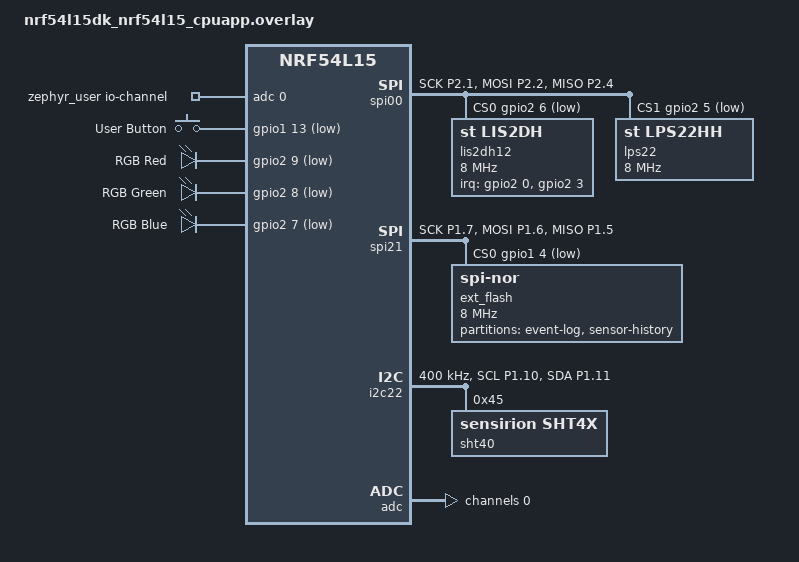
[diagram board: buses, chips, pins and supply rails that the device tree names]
/*
 * Smart Tag V1 hardware pin mapping.
 *
 * This overlay can be used as a reference while bringing the application
 * up on an nRF54L15 DK. For the production PCB, create a custom board
 * target so the pin configuration is part of the board definition.
 *
 * Bus topology (from 25025-beacon-V1.0-sch.pdf):
 *
 *   SPI00 (fast domain, P2.xx only) -> LIS2DH12 + LPS22 pressure sensor
 *   SPI21                           -> BY25Q16BSXIG 16-Mbit SPI NOR
 *   TWIM22                          -> SHT40
 *
 * The NOR flash does NOT share the sensor SPI bus: the schematic gives it
 * its own SCLK/SI/SO on P1.07/P1.06/P1.05.
 */

#include <zephyr/dt-bindings/sensor/lps22hh.h>
#include <zephyr/dt-bindings/adc/nrf-saadc-nrf54l.h>

/ {
    aliases {
        sht40 = &sht40;
        lis2dh12 = &lis2dh12;
        lps22 = &lps22;
        user_button = &user_button;
        led_red = &led_red;
        led_green = &led_green;
        led_blue = &led_blue;
        ext_flash = &ext_flash;
    };

    /* Battery ADC channel, read by sensors/sensor_manager.c. */
    zephyr_user: zephyr,user {
        io-channels = <&adc 0>;
    };

    smart_tag_keys {
        compatible = "gpio-keys";

        user_button: button_0 {
            gpios = <&gpio1 13 (GPIO_PULL_UP | GPIO_ACTIVE_LOW)>;
            label = "User Button";
        };
    };

    smart_tag_leds {
        compatible = "gpio-leds";

        led_red: led_red {
            gpios = <&gpio2 9 GPIO_ACTIVE_LOW>;
            label = "RGB Red";
        };

        led_green: led_green {
            gpios = <&gpio2 8 GPIO_ACTIVE_LOW>;
            label = "RGB Green";
        };

        led_blue: led_blue {
            gpios = <&gpio2 7 GPIO_ACTIVE_LOW>;
            label = "RGB Blue";
        };
    };
};

/*
 * The DK definition puts an MX25R64 on SPI00 chip select 0.  Smart Tag has
 * the accelerometer there instead, so the DK node has to go.
 */
/delete-node/ &mx25r64;

/* Sensor SPI bus: SCK P2.01, MOSI P2.02, MISO P2.04. */
/*
 * 8 MHz, not 10: SPIM00's base clock is 128 MHz and nrfx requires the
 * requested frequency to divide it exactly into an even prescaler, so
 * 10 MHz is rejected by nrfx_spim_init() with -EINVAL. Unlike nRF52/nRF53,
 * nRF54L does not round down to a supported step. See the board pinctrl
 * .dtsi header for the full arithmetic.
 */
&spi00 {
    status = "okay";
    pinctrl-0 = <&spi00_smart_tag_default>;
    pinctrl-1 = <&spi00_smart_tag_sleep>;
    pinctrl-names = "default", "sleep";

    cs-gpios = <&gpio2 6 GPIO_ACTIVE_LOW>,   /* CS_LIS2DH12 */
               <&gpio2 5 GPIO_ACTIVE_LOW>;   /* CS_LPS22     */

    lis2dh12: lis2dh12@0 {
        compatible = "st,lis2dh";
        reg = <0>;
        spi-max-frequency = <8000000>;

        /* INT1 = P2.00, INT2 = P2.03, both active high out of the sensor. */
        irq-gpios = <&gpio2 0 GPIO_ACTIVE_HIGH>,
                    <&gpio2 3 GPIO_ACTIVE_HIGH>;

        /* LIS2DH12 has an SDO/SA0 pull-up that wastes current in SPI mode. */
        disconnect-sdo-sa0-pull-up;

        status = "okay";
    };

    /*
     * Schematic part is an LPS22HB.  Zephyr has no SPI-capable LPS22HB
     * driver, so the register-compatible LPS22HH driver is used.  See
     * README.md - the LPS22HH driver enforces WHO_AM_I == 0xB3.
     */
    lps22: lps22hh@1 {
        compatible = "st,lps22hh";
        reg = <1>;
        spi-max-frequency = <8000000>;
        odr = <LPS22HH_DT_ODR_1HZ>;
        status = "okay";
    };
};

/*
 * External 2 MB SPI NOR on its own bus.
 * BY25Q16BSXIG is a 16-Mbit / 2-MB SPI NOR.
 * SCLK P1.07, MOSI/SI P1.06, MISO/SO P1.05, CS P1.04.
 */
&spi21 {
    status = "okay";
    pinctrl-0 = <&spi21_smart_tag_default>;
    pinctrl-1 = <&spi21_smart_tag_sleep>;
    pinctrl-names = "default", "sleep";

    cs-gpios = <&gpio1 4 GPIO_ACTIVE_LOW>;

    ext_flash: flash@0 {
        compatible = "jedec,spi-nor";
        reg = <0>;
        spi-max-frequency = <8000000>;

        /* Boya BY25Q16BS. Confirm against the JEDEC ID read at bring-up. */
        jedec-id = [68 40 15];
        /* "size" is in BITS: 16 Mbit. */
        size = <16777216>;

        has-dpd;
        t-enter-dpd = <3000>;
        t-exit-dpd = <30000>;

        status = "okay";

        partitions {
            compatible = "fixed-partitions";
            #address-cells = <1>;
            #size-cells = <1>;

            /*
             * PLAN.md section 9. Two independent circular logs, so a
             * burst of shock events cannot evict the climate history a
             * shipping audit needs, and vice versa. Configuration and
             * statistics live in the internal RRAM settings partition
             * instead - see src/storage/config_storage.h.
             */
            event_log_partition: partition@0 {
                label = "event-log";
                reg = <0x00000000 DT_SIZE_K(256)>;
            };

            sensor_log_partition: partition@40000 {
                label = "sensor-history";
                reg = <0x00040000 DT_SIZE_K(1792)>;
            };
        }
    };
};

&i2c22 {
    status = "okay";
    clock-frequency = <I2C_BITRATE_FAST>;
    pinctrl-0 = <&i2c22_smart_tag_default>;
    pinctrl-1 = <&i2c22_smart_tag_sleep>;
    pinctrl-names = "default", "sleep";

    sht40: sht4x@45 {
        compatible = "sensirion,sht4x";
        reg = <0x45>;
        repeatability = <2>;
        status = "okay";
    };
};

&pinctrl {
    i2c22_smart_tag_default: i2c22_smart_tag_default {
        group1 {
            psels = <NRF_PSEL(TWIM_SCL, 1, 10)>,
                    <NRF_PSEL(TWIM_SDA, 1, 11)>;
            bias-pull-up;
        };
    };

    i2c22_smart_tag_sleep: i2c22_smart_tag_sleep {
        group1 {
            psels = <NRF_PSEL(TWIM_SCL, 1, 10)>,
                    <NRF_PSEL(TWIM_SDA, 1, 11)>;
            low-power-enable;
        };
    };

    spi00_smart_tag_default: spi00_smart_tag_default {
        group1 {
            psels = <NRF_PSEL(SPIM_SCK, 2, 1)>,
                    <NRF_PSEL(SPIM_MOSI, 2, 2)>,
                    <NRF_PSEL(SPIM_MISO, 2, 4)>;
        };
    };

    spi00_smart_tag_sleep: spi00_smart_tag_sleep {
        group1 {
            psels = <NRF_PSEL(SPIM_SCK, 2, 1)>,
                    <NRF_PSEL(SPIM_MOSI, 2, 2)>,
                    <NRF_PSEL(SPIM_MISO, 2, 4)>;
            low-power-enable;
        };
    };

    spi21_smart_tag_default: spi21_smart_tag_default {
        group1 {
            psels = <NRF_PSEL(SPIM_SCK, 1, 7)>,
                    <NRF_PSEL(SPIM_MOSI, 1, 6)>,
                    <NRF_PSEL(SPIM_MISO, 1, 5)>;
        };
    };

    spi21_smart_tag_sleep: spi21_smart_tag_sleep {
        group1 {
            psels = <NRF_PSEL(SPIM_SCK, 1, 7)>,
                    <NRF_PSEL(SPIM_MOSI, 1, 6)>,
                    <NRF_PSEL(SPIM_MISO, 1, 5)>;
            low-power-enable;
        };
    };
};

/* Disable the DK UART because P1.04/P1.05 are SPI-NOR pins on Smart Tag. */
&uart20 {
    status = "disabled";
};

/*
 * Battery measurement. There is no divider on the PCB - the CR2032 feeds VCC
 * through a P-channel FET with no regulator, so the SoC supply rail is the
 * cell voltage and the SAADC's internal AVDD channel reads it directly.
 */
&adc {
    status = "okay";
    #address-cells = <1>;
    #size-cells = <0>;

    channel@0 {
        reg = <0>;
        zephyr,gain = "ADC_GAIN_1_4";
        zephyr,reference = "ADC_REF_INTERNAL";
        zephyr,acquisition-time = <ADC_ACQ_TIME(ADC_ACQ_TIME_MICROSECONDS, 10)>;
        zephyr,input-positive = <NRF_SAADC_AVDD>;
        zephyr,resolution = <12>;
    };
};
